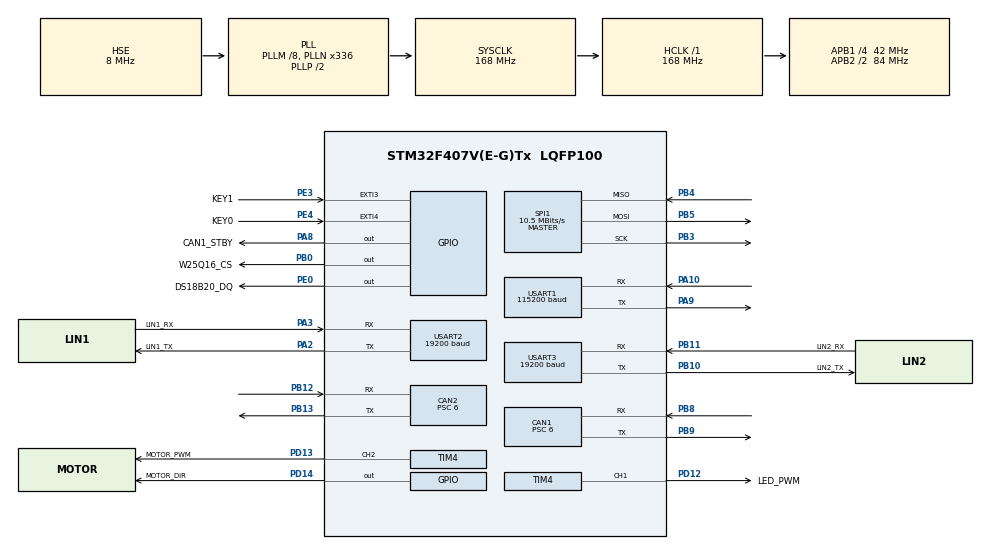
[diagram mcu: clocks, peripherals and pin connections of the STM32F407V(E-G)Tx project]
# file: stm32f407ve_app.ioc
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CAN1.BS1=CAN_BS1_10TQ
CAN1.BS2=CAN_BS2_3TQ
CAN1.CalculateBaudRate=500000
CAN1.CalculateTimeBit=2000
CAN1.CalculateTimeQuantum=142.85714285714286
CAN1.Prescaler=6
CAN2.BS1=CAN_BS1_10TQ
CAN2.BS2=CAN_BS2_3TQ
CAN2.CalculateBaudRate=500000
CAN2.CalculateTimeBit=2000
CAN2.CalculateTimeQuantum=142.85714285714286
CAN2.Prescaler=6
IWDG.Prescaler=IWDG_PRESCALER_64
IWDG.Reload=1000
Mcu.Family=STM32F4
Mcu.Name=STM32F407V(E-G)Tx
Mcu.Package=LQFP100
NVIC.CAN1_RX0_IRQn=true\:4\:0\:true\:false\:true\:true\:true\:true
NVIC.CAN2_RX0_IRQn=true\:4\:0\:true\:false\:true\:true\:true\:true
NVIC.EXTI3_IRQn=true\:6\:0\:true\:false\:true\:true\:true\:true
NVIC.EXTI4_IRQn=true\:6\:0\:true\:false\:true\:true\:true\:true
NVIC.PriorityGroup=NVIC_PRIORITYGROUP_4
NVIC.TIM4_IRQn=true\:0\:0\:false\:false\:true\:true\:true\:true
NVIC.USART1_IRQn=true\:5\:0\:true\:false\:true\:true\:true\:true
PA10.Mode=Asynchronous
PA10.Signal=USART1_RX
PA13.Mode=Serial_Wire
PA13.Signal=SYS_JTMS-SWDIO
PA14.GPIO_Label=SYS_JTCK-SWCLK
PA14.Mode=Serial_Wire
PA14.Signal=SYS_JTCK-SWCLK
PA2.GPIO_Label=LIN1_TX
PA2.Mode=Asynchronous
PA2.Signal=USART2_TX
PA3.GPIO_Label=LIN1_RX
PA3.Mode=Asynchronous
PA3.Signal=USART2_RX
PA8.GPIO_Label=CAN1_STBY
PA8.PinState=GPIO_PIN_RESET
PA8.Signal=GPIO_Output
PA9.Mode=Asynchronous
PA9.Signal=USART1_TX
PB0.GPIO_Label=W25Q16_CS
PB0.PinState=GPIO_PIN_SET
PB0.Signal=GPIO_Output
PB10.GPIO_Label=LIN2_TX
PB10.Mode=Asynchronous
PB10.Signal=USART3_TX
PB11.GPIO_Label=LIN2_RX
PB11.Mode=Asynchronous
PB11.Signal=USART3_RX
PB12.Mode=CAN_Activate
PB12.Signal=CAN2_RX
PB13.Mode=CAN_Activate
PB13.Signal=CAN2_TX
PB3.Mode=Full_Duplex_Master
PB3.Signal=SPI1_SCK
PB4.Mode=Full_Duplex_Master
PB4.Signal=SPI1_MISO
PB5.Mode=Full_Duplex_Master
PB5.Signal=SPI1_MOSI
PB8.Mode=CAN_Activate
PB8.Signal=CAN1_RX
PB9.Mode=CAN_Activate
PB9.Signal=CAN1_TX
PD12.GPIO_Label=LED_PWM
PD12.Signal=S_TIM4_CH1
PD13.GPIO_Label=MOTOR_PWM
PD13.Signal=S_TIM4_CH2
PD14.GPIO_Label=MOTOR_DIR
PD14.Signal=GPIO_Output
PE0.GPIO_Label=DS18B20_DQ
PE0.GPIO_ModeDefaultOutputPP=GPIO_MODE_OUTPUT_OD
PE0.GPIO_PuPd=GPIO_NOPULL
PE0.GPIO_Speed=GPIO_SPEED_FREQ_LOW
PE0.PinState=GPIO_PIN_SET
PE0.Signal=GPIO_Output
PE3.GPIO_Label=KEY1
PE3.GPIO_ModeDefaultEXTI=GPIO_MODE_IT_FALLING
PE3.GPIO_PuPd=GPIO_PULLUP
PE3.Signal=GPXTI3
PE4.GPIO_Label=KEY0
PE4.GPIO_ModeDefaultEXTI=GPIO_MODE_IT_FALLING
PE4.GPIO_PuPd=GPIO_PULLUP
PE4.Signal=GPXTI4
PH0-OSC_IN.Mode=HSE-External-Oscillator
PH0-OSC_IN.Signal=RCC_OSC_IN
PH1-OSC_OUT.Mode=HSE-External-Oscillator
PH1-OSC_OUT.Signal=RCC_OSC_OUT
ProjectManager.HeapSize=0x200
ProjectManager.StackSize=0x400
ProjectManager.TargetToolchain=STM32CubeIDE
RCC.48MHZClocksFreq_Value=48000000
RCC.AHBFreq_Value=168000000
RCC.APB1CLKDivider=RCC_HCLK_DIV4
RCC.APB1Freq_Value=42000000
RCC.APB1TimFreq_Value=84000000
RCC.APB2CLKDivider=RCC_HCLK_DIV2
RCC.APB2Freq_Value=84000000
RCC.APB2TimFreq_Value=168000000
RCC.CortexFreq_Value=168000000
RCC.HCLKFreq_Value=168000000
RCC.HSE_VALUE=8000000
RCC.HSI_VALUE=16000000
RCC.LSE_VALUE=32768
RCC.PLLM=8
RCC.PLLN=336
RCC.PLLQ=7
RCC.PLLSourceVirtual=RCC_PLLSOURCE_HSE
RCC.SYSCLKFreq_VALUE=168000000
RCC.SYSCLKSource=RCC_SYSCLKSOURCE_PLLCLK
RCC.VCOOutputFreq_Value=336000000
SH.S_TIM4_CH1.0=TIM4_CH1,PWM Generation1 CH1
SH.S_TIM4_CH2.0=TIM4_CH2,PWM Generation2 CH2
SPI1.BaudRatePrescaler=SPI_BAUDRATEPRESCALER_8
SPI1.CalculateBaudRate=10.5 MBits/s
SPI1.Direction=SPI_DIRECTION_2LINES
SPI1.Mode=SPI_MODE_MASTER
SPI1.VirtualType=VM_MASTER
TIM4.Channel-PWM\ Generation1\ CH1=TIM_CHANNEL_1
TIM4.Channel-PWM\ Generation2\ CH2=TIM_CHANNEL_2
TIM4.Period=999
TIM4.Prescaler=167
USART1.BaudRate=115200
USART1.VirtualMode=VM_ASYNC
USART2.BaudRate=19200
USART2.VirtualMode=VM_ASYNC
USART3.BaudRate=19200
USART3.VirtualMode=VM_ASYNC
VP_IWDG_VS_IWDG.Mode=IWDG_Activate
VP_RNG_VS_RNG.Mode=RNG_Activate
VP_RTC_VS_RTC_Activate.Mode=RTC_Enabled
VP_RTC_VS_RTC_Calendar.Mode=RTC_Calendar
board=custom

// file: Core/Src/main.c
/* USER CODE BEGIN Header */
/**
  ******************************************************************************
  * @file           : main.c
  * @brief          : Main program body
  ******************************************************************************
  * @attention
  *
  * Copyright (c) 2026 STMicroelectronics.
  * All rights reserved.
  *
  * This software is licensed under terms that can be found in the LICENSE file
  * in the root directory of this software component.
  * If no LICENSE file comes with this software, it is provided AS-IS.
  *
  ******************************************************************************
  */
/* USER CODE END Header */
#include "main.h"

/* USER CODE BEGIN Includes */
/* MCAL 驱动接口头文件 */
#include "can_driver.h"
#include "gpio_driver.h"
#include "timer_driver.h"
#include "pwm_driver.h"
#include "spi_flash.h"
#include <asw/dim.h>

/* BSW 接口头文件 */
#include "canif.h"
#include "com.h"
#include "pdur.h"
#include <bsw/dcm/Dcm.h>
#include <bsw/nvm/nvm_manager.h>

/* ASW 接口头文件 */
#include <asw/heatm.h>
//#include <asw/app.h>
#include <ds18b20_driver.h>
/* USER CODE END Includes */

CAN_HandleTypeDef hcan1;
CAN_HandleTypeDef hcan2;

IWDG_HandleTypeDef hiwdg;

RNG_HandleTypeDef hrng;

RTC_HandleTypeDef hrtc;

SPI_HandleTypeDef hspi1;

TIM_HandleTypeDef htim4;

UART_HandleTypeDef huart1;
UART_HandleTypeDef huart2;
UART_HandleTypeDef huart3;

void SystemClock_Config(void);
static void MX_GPIO_Init(void);
static void MX_CAN1_Init(void);
static void MX_CAN2_Init(void);
static void MX_RNG_Init(void);
static void MX_RTC_Init(void);
static void MX_SPI1_Init(void);
static void MX_TIM4_Init(void);
static void MX_USART1_UART_Init(void);
static void MX_USART2_UART_Init(void);
static void MX_USART3_UART_Init(void);
static void MX_IWDG_Init(void);
/* USER CODE BEGIN PFP */
static void SchM_Init(void);
static void SchM_Task1ms(void);
static void SchM_Task10ms(void);
static void SchM_Task100ms(void);
static void SchM_Task1000ms(void);
/* USER CODE END PFP */

/* USER CODE BEGIN 0 */
PUTCHAR_PROTOTYPE
{
  /* Place your implementation of fputc here */
  /* e.g. write a character to the USART1 and Loop until the end of transmission */
  HAL_UART_Transmit(&huart1, (uint8_t *)&ch, 1, 0xFFFF);

  return ch;
}
/* USER CODE END 0 */

int main(void)
{

  /* MCU Configuration--------------------------------------------------------*/

  /* Reset of all peripherals, Initializes the Flash interface and the Systick. */
  HAL_Init();

  /* Configure the system clock */
  SystemClock_Config();

  /* Initialize all configured peripherals */
  MX_GPIO_Init();
  MX_CAN1_Init();
  MX_CAN2_Init();
  MX_RNG_Init();
  MX_RTC_Init();
  MX_SPI1_Init();
  MX_TIM4_Init();
  MX_USART1_UART_Init();
  MX_USART2_UART_Init();
  MX_USART3_UART_Init();
  MX_IWDG_Init();
  /* USER CODE BEGIN 2 */
  SchM_Init();
  /* USER CODE END 2 */

  /* Infinite loop */
  /* USER CODE BEGIN WHILE */
  App_System_Init();
  App_TaskScheduler_Init();
  while (1)
  {
    /* USER CODE END WHILE */

    /* USER CODE BEGIN 3 */
	  if (s_task1msFlag) { SchM_Task1ms(); }
	  if (s_task10msFlag) { SchM_Task10ms(); }
	  if (s_task100msFlag) { SchM_Task100ms(); }
	  if (s_task1000msFlag) { SchM_Task1000ms(); }
	  HAL_IWDG_Refresh(&hiwdg);
  }
  /* USER CODE END 3 */
}

void SystemClock_Config(void)
{
  RCC_OscInitTypeDef RCC_OscInitStruct = {0};
  RCC_ClkInitTypeDef RCC_ClkInitStruct = {0};

  /** Configure the main internal regulator output voltage
  */
  __HAL_RCC_PWR_CLK_ENABLE();
  __HAL_PWR_VOLTAGESCALING_CONFIG(PWR_REGULATOR_VOLTAGE_SCALE1);

  /** Initializes the RCC Oscillators according to the specified parameters
  * in the RCC_OscInitTypeDef structure.
  */
  RCC_OscInitStruct.OscillatorType = RCC_OSCILLATORTYPE_LSI|RCC_OSCILLATORTYPE_HSE;
  RCC_OscInitStruct.HSEState = RCC_HSE_ON;
  RCC_OscInitStruct.LSIState = RCC_LSI_ON;
  RCC_OscInitStruct.PLL.PLLState = RCC_PLL_ON;
  RCC_OscInitStruct.PLL.PLLSource = RCC_PLLSOURCE_HSE;
  RCC_OscInitStruct.PLL.PLLM = 8;
  RCC_OscInitStruct.PLL.PLLN = 336;
  RCC_OscInitStruct.PLL.PLLP = RCC_PLLP_DIV2;
  RCC_OscInitStruct.PLL.PLLQ = 7;
  if (HAL_RCC_OscConfig(&RCC_OscInitStruct) != HAL_OK)
  {
    Error_Handler();
  }

  /** Initializes the CPU, AHB and APB buses clocks
  */
  RCC_ClkInitStruct.ClockType = RCC_CLOCKTYPE_HCLK|RCC_CLOCKTYPE_SYSCLK
                              |RCC_CLOCKTYPE_PCLK1|RCC_CLOCKTYPE_PCLK2;
  RCC_ClkInitStruct.SYSCLKSource = RCC_SYSCLKSOURCE_PLLCLK;
  RCC_ClkInitStruct.AHBCLKDivider = RCC_SYSCLK_DIV1;
  RCC_ClkInitStruct.APB1CLKDivider = RCC_HCLK_DIV4;
  RCC_ClkInitStruct.APB2CLKDivider = RCC_HCLK_DIV2;

  if (HAL_RCC_ClockConfig(&RCC_ClkInitStruct, FLASH_LATENCY_5) != HAL_OK)
  {
    Error_Handler();
  }
}

static void MX_CAN1_Init(void)
{

  hcan1.Instance = CAN1;
  hcan1.Init.Prescaler = 6;
  hcan1.Init.Mode = CAN_MODE_NORMAL;
  hcan1.Init.SyncJumpWidth = CAN_SJW_1TQ;
  hcan1.Init.TimeSeg1 = CAN_BS1_10TQ;
  hcan1.Init.TimeSeg2 = CAN_BS2_3TQ;
  hcan1.Init.TimeTriggeredMode = DISABLE;
  hcan1.Init.AutoBusOff = DISABLE;
  hcan1.Init.AutoWakeUp = DISABLE;
  hcan1.Init.AutoRetransmission = DISABLE;
  hcan1.Init.ReceiveFifoLocked = DISABLE;
  hcan1.Init.TransmitFifoPriority = DISABLE;
  if (HAL_CAN_Init(&hcan1) != HAL_OK)
  {
    Error_Handler();
  }

}

static void MX_CAN2_Init(void)
{

  hcan2.Instance = CAN2;
  hcan2.Init.Prescaler = 6;
  hcan2.Init.Mode = CAN_MODE_NORMAL;
  hcan2.Init.SyncJumpWidth = CAN_SJW_1TQ;
  hcan2.Init.TimeSeg1 = CAN_BS1_10TQ;
  hcan2.Init.TimeSeg2 = CAN_BS2_3TQ;
  hcan2.Init.TimeTriggeredMode = DISABLE;
  hcan2.Init.AutoBusOff = DISABLE;
  hcan2.Init.AutoWakeUp = DISABLE;
  hcan2.Init.AutoRetransmission = DISABLE;
  hcan2.Init.ReceiveFifoLocked = DISABLE;
  hcan2.Init.TransmitFifoPriority = DISABLE;
  if (HAL_CAN_Init(&hcan2) != HAL_OK)
  {
    Error_Handler();
  }

}

static void MX_IWDG_Init(void)
{

  hiwdg.Instance = IWDG;
  hiwdg.Init.Prescaler = IWDG_PRESCALER_64;
  hiwdg.Init.Reload = 1000;
  if (HAL_IWDG_Init(&hiwdg) != HAL_OK)
  {
    Error_Handler();
  }

}

static void MX_RNG_Init(void)
{

  hrng.Instance = RNG;
  if (HAL_RNG_Init(&hrng) != HAL_OK)
  {
    Error_Handler();
  }

}

static void MX_RTC_Init(void)
{

  RTC_TimeTypeDef sTime = {0};
  RTC_DateTypeDef sDate = {0};

  /** Initialize RTC Only
  */
  hrtc.Instance = RTC;
  hrtc.Init.HourFormat = RTC_HOURFORMAT_24;
  hrtc.Init.AsynchPrediv = 127;
  hrtc.Init.SynchPrediv = 255;
  hrtc.Init.OutPut = RTC_OUTPUT_DISABLE;
  hrtc.Init.OutPutPolarity = RTC_OUTPUT_POLARITY_HIGH;
  hrtc.Init.OutPutType = RTC_OUTPUT_TYPE_OPENDRAIN;
  if (HAL_RTC_Init(&hrtc) != HAL_OK)
  {
    Error_Handler();
  }

  /** Initialize RTC and set the Time and Date
  */
  sTime.Hours = 0x0;
  sTime.Minutes = 0x0;
  sTime.Seconds = 0x0;
  sTime.DayLightSaving = RTC_DAYLIGHTSAVING_NONE;
  sTime.StoreOperation = RTC_STOREOPERATION_RESET;
  if (HAL_RTC_SetTime(&hrtc, &sTime, RTC_FORMAT_BCD) != HAL_OK)
  {
    Error_Handler();
  }
  sDate.WeekDay = RTC_WEEKDAY_MONDAY;
  sDate.Month = RTC_MONTH_JANUARY;
  sDate.Date = 0x1;
  sDate.Year = 0x0;

  if (HAL_RTC_SetDate(&hrtc, &sDate, RTC_FORMAT_BCD) != HAL_OK)
  {
    Error_Handler();
  }

}

static void MX_SPI1_Init(void)
{

  /* SPI1 parameter configuration*/
  hspi1.Instance = SPI1;
  hspi1.Init.Mode = SPI_MODE_MASTER;
  hspi1.Init.Direction = SPI_DIRECTION_2LINES;
  hspi1.Init.DataSize = SPI_DATASIZE_8BIT;
  hspi1.Init.CLKPolarity = SPI_POLARITY_LOW;
  hspi1.Init.CLKPhase = SPI_PHASE_1EDGE;
  hspi1.Init.NSS = SPI_NSS_SOFT;
  hspi1.Init.BaudRatePrescaler = SPI_BAUDRATEPRESCALER_8;
  hspi1.Init.FirstBit = SPI_FIRSTBIT_MSB;
  hspi1.Init.TIMode = SPI_TIMODE_DISABLE;
  hspi1.Init.CRCCalculation = SPI_CRCCALCULATION_DISABLE;
  hspi1.Init.CRCPolynomial = 10;
  if (HAL_SPI_Init(&hspi1) != HAL_OK)
  {
    Error_Handler();
  }

}

static void MX_TIM4_Init(void)
{

  TIM_MasterConfigTypeDef sMasterConfig = {0};
  TIM_OC_InitTypeDef sConfigOC = {0};

  htim4.Instance = TIM4;
  htim4.Init.Prescaler = 167;
  htim4.Init.CounterMode = TIM_COUNTERMODE_UP;
  htim4.Init.Period = 999;
  htim4.Init.ClockDivision = TIM_CLOCKDIVISION_DIV1;
  htim4.Init.AutoReloadPreload = TIM_AUTORELOAD_PRELOAD_DISABLE;
  if (HAL_TIM_PWM_Init(&htim4) != HAL_OK)
  {
    Error_Handler();
  }
  sMasterConfig.MasterOutputTrigger = TIM_TRGO_RESET;
  sMasterConfig.MasterSlaveMode = TIM_MASTERSLAVEMODE_DISABLE;
  if (HAL_TIMEx_MasterConfigSynchronization(&htim4, &sMasterConfig) != HAL_OK)
  {
    Error_Handler();
  }
  sConfigOC.OCMode = TIM_OCMODE_PWM1;
  sConfigOC.Pulse = 0;
  sConfigOC.OCPolarity = TIM_OCPOLARITY_HIGH;
  sConfigOC.OCFastMode = TIM_OCFAST_DISABLE;
  if (HAL_TIM_PWM_ConfigChannel(&htim4, &sConfigOC, TIM_CHANNEL_1) != HAL_OK)
  {
    Error_Handler();
  }
  if (HAL_TIM_PWM_ConfigChannel(&htim4, &sConfigOC, TIM_CHANNEL_2) != HAL_OK)
  {
    Error_Handler();
  }
  HAL_TIM_MspPostInit(&htim4);

}

static void MX_USART1_UART_Init(void)
{

  huart1.Instance = USART1;
  huart1.Init.BaudRate = 115200;
  huart1.Init.WordLength = UART_WORDLENGTH_8B;
  huart1.Init.StopBits = UART_STOPBITS_1;
  huart1.Init.Parity = UART_PARITY_NONE;
  huart1.Init.Mode = UART_MODE_TX_RX;
  huart1.Init.HwFlowCtl = UART_HWCONTROL_NONE;
  huart1.Init.OverSampling = UART_OVERSAMPLING_16;
  if (HAL_UART_Init(&huart1) != HAL_OK)
  {
    Error_Handler();
  }

}

static void MX_USART2_UART_Init(void)
{

  huart2.Instance = USART2;
  huart2.Init.BaudRate = 19200;
  huart2.Init.WordLength = UART_WORDLENGTH_8B;
  huart2.Init.StopBits = UART_STOPBITS_1;
  huart2.Init.Parity = UART_PARITY_NONE;
  huart2.Init.Mode = UART_MODE_TX_RX;
  huart2.Init.HwFlowCtl = UART_HWCONTROL_NONE;
  huart2.Init.OverSampling = UART_OVERSAMPLING_16;
  if (HAL_UART_Init(&huart2) != HAL_OK)
  {
    Error_Handler();
  }

}

static void MX_USART3_UART_Init(void)
{

  huart3.Instance = USART3;
  huart3.Init.BaudRate = 19200;
  huart3.Init.WordLength = UART_WORDLENGTH_8B;
  huart3.Init.StopBits = UART_STOPBITS_1;
  huart3.Init.Parity = UART_PARITY_NONE;
  huart3.Init.Mode = UART_MODE_TX_RX;
  huart3.Init.HwFlowCtl = UART_HWCONTROL_NONE;
  huart3.Init.OverSampling = UART_OVERSAMPLING_16;
  if (HAL_UART_Init(&huart3) != HAL_OK)
  {
    Error_Handler();
  }

}

static void MX_GPIO_Init(void)
{
  GPIO_InitTypeDef GPIO_InitStruct = {0};

  /* GPIO Ports Clock Enable */
  __HAL_RCC_GPIOE_CLK_ENABLE();
  __HAL_RCC_GPIOH_CLK_ENABLE();
  __HAL_RCC_GPIOA_CLK_ENABLE();
  __HAL_RCC_GPIOB_CLK_ENABLE();
  __HAL_RCC_GPIOD_CLK_ENABLE();

  /*Configure GPIO pin Output Level */
  HAL_GPIO_WritePin(W25Q16_CS_GPIO_Port, W25Q16_CS_Pin, GPIO_PIN_SET);

  /*Configure GPIO pin Output Level */
  HAL_GPIO_WritePin(MOTOR_DIR_GPIO_Port, MOTOR_DIR_Pin, GPIO_PIN_RESET);

  /*Configure GPIO pin Output Level */
  HAL_GPIO_WritePin(CAN1_STBY_GPIO_Port, CAN1_STBY_Pin, GPIO_PIN_RESET);

  /*Configure GPIO pin Output Level */
  HAL_GPIO_WritePin(DS18B20_DQ_GPIO_Port, DS18B20_DQ_Pin, GPIO_PIN_SET);

  /*Configure GPIO pins : KEY1_Pin KEY0_Pin */
  GPIO_InitStruct.Pin = KEY1_Pin|KEY0_Pin;
  GPIO_InitStruct.Mode = GPIO_MODE_IT_FALLING;
  GPIO_InitStruct.Pull = GPIO_PULLUP;
  HAL_GPIO_Init(GPIOE, &GPIO_InitStruct);

  /*Configure GPIO pin : W25Q16_CS_Pin */
  GPIO_InitStruct.Pin = W25Q16_CS_Pin;
  GPIO_InitStruct.Mode = GPIO_MODE_OUTPUT_PP;
  GPIO_InitStruct.Pull = GPIO_NOPULL;
  GPIO_InitStruct.Speed = GPIO_SPEED_FREQ_LOW;
  HAL_GPIO_Init(W25Q16_CS_GPIO_Port, &GPIO_InitStruct);

  /*Configure GPIO pin : MOTOR_DIR_Pin */
  GPIO_InitStruct.Pin = MOTOR_DIR_Pin;
  GPIO_InitStruct.Mode = GPIO_MODE_OUTPUT_PP;
  GPIO_InitStruct.Pull = GPIO_NOPULL;
  GPIO_InitStruct.Speed = GPIO_SPEED_FREQ_LOW;
  HAL_GPIO_Init(MOTOR_DIR_GPIO_Port, &GPIO_InitStruct);

  /*Configure GPIO pin : CAN1_STBY_Pin */
  GPIO_InitStruct.Pin = CAN1_STBY_Pin;
  GPIO_InitStruct.Mode = GPIO_MODE_OUTPUT_PP;
  GPIO_InitStruct.Pull = GPIO_NOPULL;
  GPIO_InitStruct.Speed = GPIO_SPEED_FREQ_LOW;
  HAL_GPIO_Init(CAN1_STBY_GPIO_Port, &GPIO_InitStruct);

  /*Configure GPIO pin : DS18B20_DQ_Pin */
  GPIO_InitStruct.Pin = DS18B20_DQ_Pin;
  GPIO_InitStruct.Mode = GPIO_MODE_OUTPUT_OD;
  GPIO_InitStruct.Pull = GPIO_NOPULL;
  GPIO_InitStruct.Speed = GPIO_SPEED_FREQ_LOW;
  HAL_GPIO_Init(DS18B20_DQ_GPIO_Port, &GPIO_InitStruct);

  /* EXTI interrupt init*/
  HAL_NVIC_SetPriority(EXTI3_IRQn, 6, 0);
  HAL_NVIC_EnableIRQ(EXTI3_IRQn);

  HAL_NVIC_SetPriority(EXTI4_IRQn, 6, 0);
  HAL_NVIC_EnableIRQ(EXTI4_IRQn);

}

/* USER CODE BEGIN 4 */
void SchM_Init(void)
{
	/* ─── MCAL Init ─── */
  Gpt_Init();                            /* SysTick 定时器 */
  Dio_Init();                            /* GPIO 驱动 */

  /* CAN hcan1 Init */
  static const Can_Config can1Config = {
      .baudrate   = 500U,
      .channel    = CAN_CHANNEL_1,
      .autoBusOff = TRUE
  };
  Can_Init((void *)&can1Config);

  /* PWM Init */
  static const Pwm_Config pwmConfig[PWM_CHANNEL_COUNT] = {
      {PWM_CH_LED,    0U,  PWM_OUTPUT_LOW},
      {PWM_CH_MOTOR,  0U,  PWM_OUTPUT_LOW}
  };
  Pwm_Init(pwmConfig, PWM_CHANNEL_COUNT);

  /* SPI Flash Init */
  if (Fls_Init() == STD_OK) {
      printf("[MCAL] W25Q16 Flash 识别成功\n");
  } else {
      printf("[MCAL] W25Q16 Flash 识别失败\n");
  }

  Mcal_DS18B20_Init();

  /* ─── NVM Init (SPI Flash Partition Manager) ─── */
  if (Nvm_Init() == STD_OK) {
      printf("[NVM] W25Q16 NVM Manager 初始化成功\n");
  } else {
      printf("[NVM] W25Q16 NVM Manager 初始化失败\n");
  }

  /* ─── BSW Init ─── */
  CanIf_Init();
  Com_Init();
  PduR_Init();       /* PduR + CANtp Init (注册 UDS 接收回调) */
  Dcm_Init();
}

void SchM_Task1ms(void)
{
	s_task1msFlag = 0;
}

void SchM_Task10ms(void)
{
	s_task10msFlag = 0;

	/* ── MCAL ── */
	Can_MainFunction_Write();           /* 发送缓冲区 → 硬件邮箱 */
	Fls_MainFunction();                 /* Flash 操作完成检查 */

	/* ── BSW ── */
	CanIf_MainFunction();               /* CanIf 发送调度 */
	Com_MainFunction();                 /* Com 信号打包 + 周期发送 */
	PduR_MainFunction();                /* PduR + CANtp 状态机 (UDS收发+超时) */

	/* ── ASW ── */
	Dim_MainFunction();
	HEATM_Run_Temperature();
	APP_MainFunction();
	Dcm_MainFunction();
}

void SchM_Task100ms(void)
{
	s_task100msFlag = 0;

    /* ── MCAL BusOff ── */
	Can_MainFunction_BusOff();
}

void SchM_Task1000ms(void)
{
	s_task1000msFlag = 0;

	// Com_TestFunction();
}
/* USER CODE END 4 */

void Error_Handler(void)
{
  __disable_irq();
  while (1)
  {
  }
}
